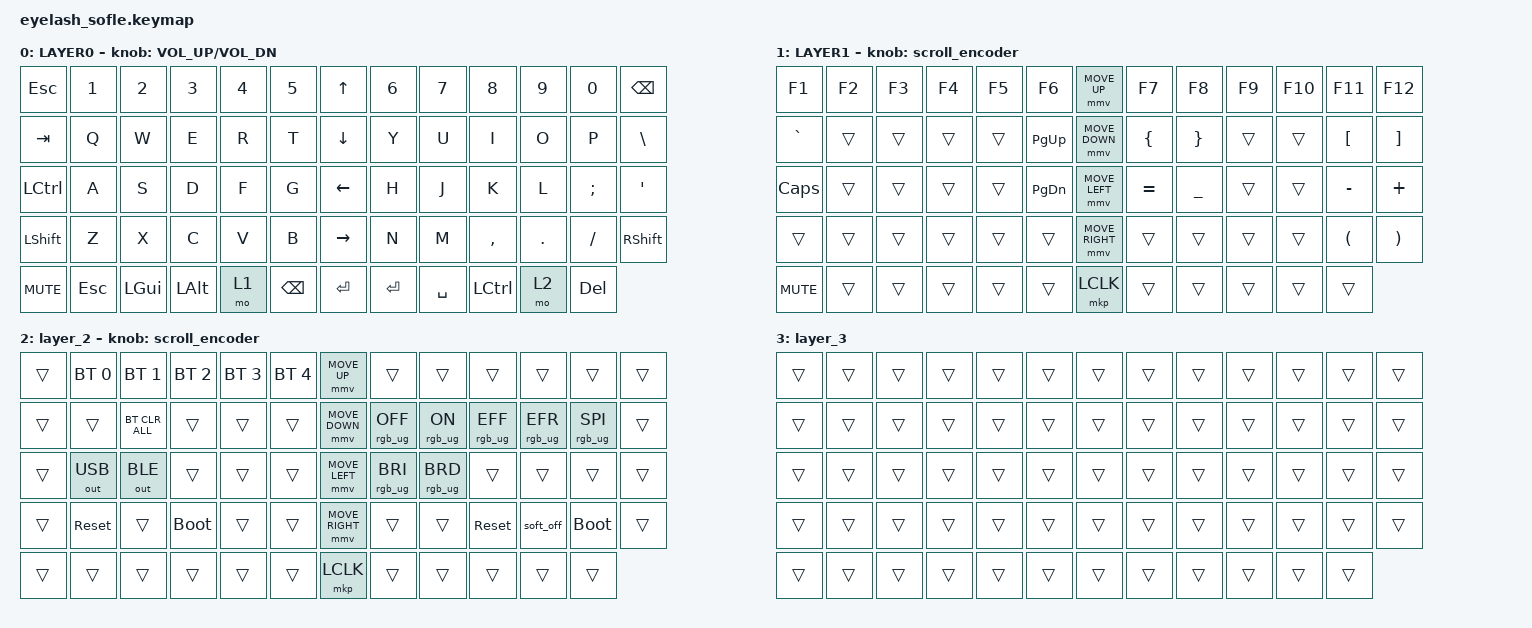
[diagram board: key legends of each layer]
#define ZMK_POINTING_DEFAULT_MOVE_VAL 1200  // 600
#define ZMK_POINTING_DEFAULT_SCRL_VAL 25   // 10

#include <input/processors.dtsi>
#include <zephyr/dt-bindings/input/input-event-codes.h>
#include <behaviors.dtsi>
#include <dt-bindings/zmk/bt.h>
#include <dt-bindings/zmk/keys.h>
#include <dt-bindings/zmk/outputs.h>
#include <dt-bindings/zmk/pointing.h>
#include <dt-bindings/zmk/rgb.h>

&mmv_input_listener { input-processors = <&zip_xy_scaler 2 1>; };

&msc_input_listener { input-processors = <&zip_scroll_scaler 2 1>; };

&msc {
    acceleration-exponent = <1>;      // 0
    time-to-max-speed-ms = <100>;       // 300
    delay-ms = <0>;                   // 0
};

&mmv {
    time-to-max-speed-ms = <500>;
    acceleration-exponent = <1>;
    trigger-period-ms = <16>;
};

&soft_off { hold-time-ms = <2000>; };

/ {
    scroll_encoder: scroll_encoder {
        compatible = "zmk,behavior-sensor-rotate";
        #sensor-binding-cells = <0>;
        bindings = <&kp C_BRI_UP>, <&kp C_BRI_DN>;
    };


    behaviors {
    };

    combos {
        compatible = "zmk,combos";

        softoff {
            bindings = <&soft_off>;
            key-positions = <14 28 40>;
        };
    };

    keymap {
        compatible = "zmk,keymap";

        layer0 {
            bindings = <
&kp ESC     &kp N1     &kp N2        &kp N3        &kp N4  &kp N5           &kp UP_ARROW     &kp N6     &kp N7     &kp N8         &kp N9           &kp N0      &kp BACKSPACE
&kp TAB     &kp Q      &kp W         &kp E         &kp R   &kp T            &kp DOWN_ARROW   &kp Y      &kp U      &kp I          &kp O            &kp P       &kp BSLH
&kp LCTRL   &kp A      &kp S         &kp D         &kp F   &kp G            &kp LEFT_ARROW   &kp H      &kp J      &kp K          &kp L            &kp SEMI    &kp APOS
&kp LSHFT   &kp Z      &kp X         &kp C         &kp V   &kp B            &kp RIGHT_ARROW  &kp N      &kp M      &kp COMMA      &kp DOT          &kp FSLH    &kp RIGHT_SHIFT
&kp C_MUTE  &kp ESC    &kp LEFT_GUI  &kp LEFT_ALT  &mo 1   &kp BACKSPACE    &kp ENTER        &kp ENTER  &kp SPACE  &kp LCTRL      &mo 2            &kp DELETE
            >;

            sensor-bindings = <&inc_dec_kp C_VOLUME_UP C_VOL_DN>;
            display-name = "LAYER0";
        };

        layer_1 {
            bindings = <
&kp F1      &kp F2           &kp F3          &kp F4           &kp F5           &kp F6             &mmv MOVE_UP     &kp F7           &kp F8           &kp F9      &kp F10    &kp F11           &kp F12
&kp GRAVE   &trans           &trans          &trans           &trans           &kp PAGE_UP        &mmv MOVE_DOWN   &kp LBRC         &kp RBRC         &trans      &trans     &kp LBKT          &kp RBKT
&kp CAPS    &trans           &trans          &trans           &trans           &kp PAGE_DOWN      &mmv MOVE_LEFT   &kp EQUAL        &kp UNDER        &trans      &trans     &kp MINUS         &kp PLUS
&trans      &trans           &trans          &trans           &trans           &trans             &mmv MOVE_RIGHT  &trans           &trans           &trans      &trans     &kp LPAR          &kp RPAR
&kp C_MUTE  &trans           &trans          &trans           &trans           &trans             &mkp LCLK        &trans           &trans           &trans      &trans     &trans
            >;

            display-name = "LAYER1";
            sensor-bindings = <&scroll_encoder>;
        };

        layer_2 {
            bindings = <
&trans     &bt BT_SEL 0  &bt BT_SEL 1    &bt BT_SEL 2  &bt BT_SEL 3  &bt BT_SEL 4    &mmv MOVE_UP     &trans           &trans           &trans           &trans            &trans           &trans
&trans     &trans        &bt BT_CLR_ALL  &trans        &trans        &trans          &mmv MOVE_DOWN   &rgb_ug RGB_OFF  &rgb_ug RGB_ON   &rgb_ug RGB_EFF  &rgb_ug RGB_EFR   &rgb_ug RGB_SPI  &trans
&trans     &out OUT_USB  &out OUT_BLE    &trans        &trans        &trans          &mmv MOVE_LEFT   &rgb_ug RGB_BRI  &rgb_ug RGB_BRD  &trans           &trans            &trans           &trans
&trans     &sys_reset    &trans          &bootloader   &trans        &trans          &mmv MOVE_RIGHT  &trans           &trans           &sys_reset       &soft_off         &bootloader      &trans
&trans     &trans        &trans          &trans        &trans        &trans          &mkp LCLK        &trans           &trans           &trans           &trans            &trans
            >;

            sensor-bindings = <&scroll_encoder>;
        };

        layer_3 {
            bindings = <
&trans  &trans  &trans  &trans  &trans  &trans    &trans  &trans  &trans  &trans  &trans  &trans  &trans
&trans  &trans  &trans  &trans  &trans  &trans    &trans  &trans  &trans  &trans  &trans  &trans  &trans
&trans  &trans  &trans  &trans  &trans  &trans    &trans  &trans  &trans  &trans  &trans  &trans  &trans
&trans  &trans  &trans  &trans  &trans  &trans    &trans  &trans  &trans  &trans  &trans  &trans  &trans
&trans  &trans  &trans  &trans  &trans  &trans    &trans  &trans  &trans  &trans  &trans  &trans
            >;
        };
    };
};
